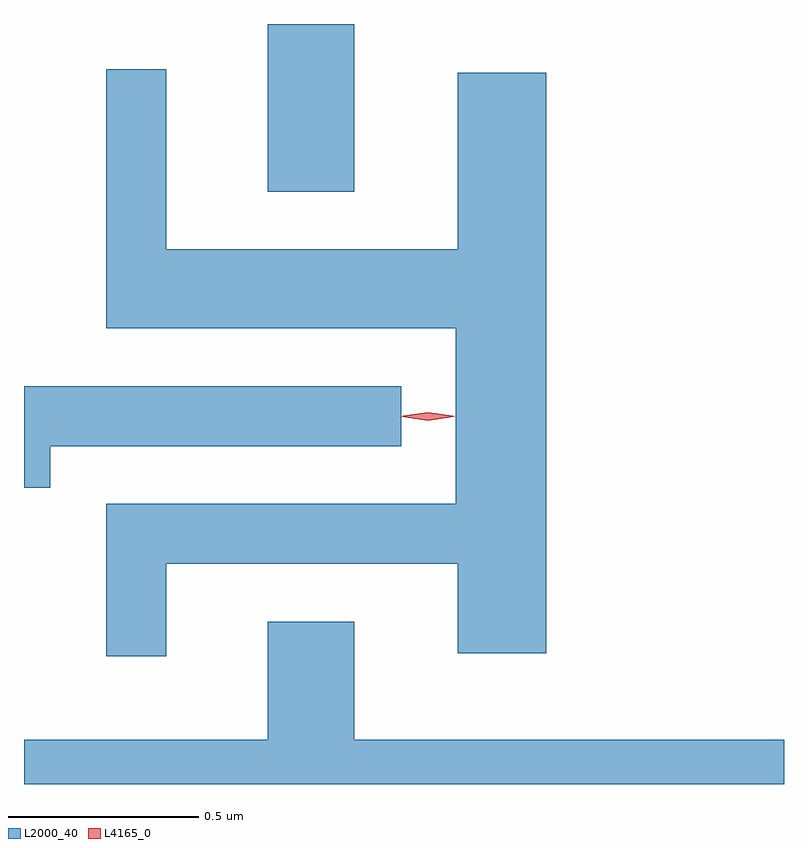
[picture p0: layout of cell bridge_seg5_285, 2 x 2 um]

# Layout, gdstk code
import gdstk
lib = gdstk.Library(unit=1e-6, precision=1e-09)
def R(c, l, rs):  # rectangles x0, y0, x1, y1
    for r in rs: c.add(gdstk.rectangle(r[:2], r[2:], *l))
def P(c, l, *ps):  # polygons
    for p in ps: c.add(gdstk.Polygon(p, *l))
L2000_40 = (2000, 40)
L4165_0 = (4165, 0)

bridge_seg5_285 = lib.new_cell('bridge_seg5_285')
R(bridge_seg5_285, L2000_40, [(998.421,1478.486,998.649,1478.927)])
P(bridge_seg5_285, L2000_40, [(998.154,1477.506),(998.921,1477.506),(998.921,1477.271),(999.154,1477.271),(999.154,1478.799),(998.921,1478.799),(998.921,1478.334),(998.154,1478.334),(998.154,1478.808),(997.996,1478.808),(997.996,1478.126),(998.916,1478.126),(998.916,1477.664),(997.996,1477.664),(997.996,1477.263),(998.154,1477.263)],
  [(997.849,1477.816),(998.773,1477.816),(998.773,1477.974),(997.78,1477.974),(997.78,1477.706),(997.849,1477.706)],
  [(999.78,1477.044),(998.649,1477.044),(998.649,1477.354),(998.421,1477.354),(998.421,1477.044),(997.78,1477.044),(997.78,1476.927),(999.78,1476.927)])
P(bridge_seg5_285, L4165_0, [(998.843,1477.883),(998.774,1477.893),(998.773,1477.893),(998.774,1477.894),(998.843,1477.903),(998.912,1477.894),(998.913,1477.893),(998.912,1477.893)],
  [(998.843,1477.885),(998.777,1477.894),(998.777,1477.895),(998.777,1477.896),(998.843,1477.905),(998.909,1477.896),(998.909,1477.895),(998.909,1477.894)])

lib.write_gds('bridge_seg5_285.gds')
